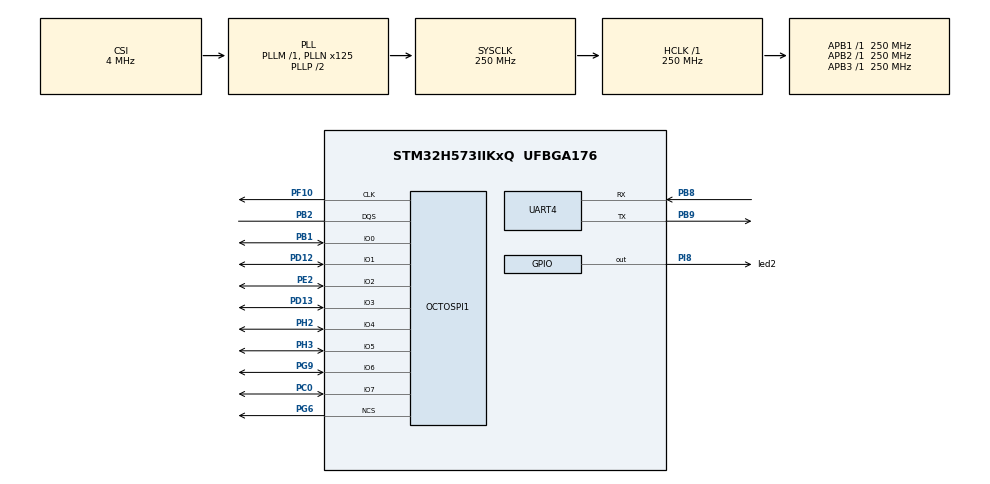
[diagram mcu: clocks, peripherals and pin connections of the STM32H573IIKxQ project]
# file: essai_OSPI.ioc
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BOOTPATH.BootPathName=LEGACY
BOOTPATH.UserSelectedBootPath=LEGACY
CORTEX_M33_NS.userName=CORTEX_M33
Mcu.Family=STM32H5
Mcu.Name=STM32H573IIKxQ
Mcu.Package=UFBGA176
NVIC.PriorityGroup=NVIC_PRIORITYGROUP_4
NVIC.UART4_IRQn=true\:0\:0\:false\:false\:true\:true\:true\:true
OCTOSPI1.MemorySize=HAL_XSPI_SIZE_512MB
PB1.Mode=OCTOSPI1_IO_Octo
PB1.Signal=OCTOSPI1_IO0
PB2.Mode=octods_mode
PB2.Signal=OCTOSPI1_DQS
PB8.Mode=Asynchronous
PB8.Signal=UART4_RX
PB9.Mode=Asynchronous
PB9.Signal=UART4_TX
PC0.Mode=OCTOSPI1_IO_Octo
PC0.Signal=OCTOSPI1_IO7
PD12.Mode=OCTOSPI1_IO_Octo
PD12.Signal=OCTOSPI1_IO1
PD13.Mode=OCTOSPI1_IO_Octo
PD13.Signal=OCTOSPI1_IO3
PE2.Mode=OCTOSPI1_IO_Octo
PE2.Signal=OCTOSPI1_IO2
PF10.Mode=octods_mode
PF10.Signal=OCTOSPI1_CLK
PG6.Mode=octods_mode
PG6.Signal=OCTOSPI1_NCS
PG9.Mode=OCTOSPI1_IO_Octo
PG9.Signal=OCTOSPI1_IO6
PH0-OSC_IN(PH0).Mode=HSE-DIG-External-Clock-Source
PH0-OSC_IN(PH0).Signal=RCC_OSC_IN
PH2.Mode=OCTOSPI1_IO_Octo
PH2.Signal=OCTOSPI1_IO4
PH3.Mode=OCTOSPI1_IO_Octo
PH3.Signal=OCTOSPI1_IO5
PI8.GPIO_Label=led2
PI8.Signal=GPIO_Output
ProjectManager.HeapSize=0x200
ProjectManager.StackSize=0x400
ProjectManager.TargetToolchain=STM32CubeIDE
RCC.ADCFreq_Value=250000000
RCC.AHBFreq_Value=250000000
RCC.APB1Freq_Value=250000000
RCC.APB1TimFreq_Value=250000000
RCC.APB2Freq_Value=250000000
RCC.APB2TimFreq_Value=250000000
RCC.APB3Freq_Value=250000000
RCC.CSI_VALUE=4000000
RCC.CortexFreq_Value=250000000
RCC.EPOD_VALUE=4000000
RCC.HCLKFreq_Value=250000000
RCC.HSE_VALUE=25000000
RCC.HSI48_VALUE=48000000
RCC.HSI_VALUE=64000000
RCC.LSE_VALUE=32768
RCC.LSIRC_VALUE=32000
RCC.PLLFRACN=0
RCC.PLLN=125
RCC.SYSCLKFreq_VALUE=250000000
RCC.SYSCLKSource=RCC_SYSCLKSOURCE_PLLCLK
RCC.USBFreq_Value=48000000
RCC.VCOOutputFreq_Value=500000000
VP_BOOTPATH_VS_BOOTPATH.Mode=BP_Activate
VP_CORTEX_M33_NS_VS_Hclk.Mode=Hclk_Mode
VP_GPDMA1_VS_GPDMACH0.Mode=SIMPLEREQUEST_GPDMACH0
VP_GPDMA1_VS_GPDMACH1.Mode=SIMPLEREQUEST_GPDMACH1
VP_ICACHE_VS_ICACHE.Mode=DefaultMode
VP_MEMORYMAP_VS_MEMORYMAP.Mode=CurAppReg
VP_PWR_VS_LPOM.Mode=PowerOptimisation
VP_PWR_VS_SECSignals.Mode=Security/Privilege
board=custom

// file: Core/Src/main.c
/* USER CODE BEGIN Header */
/**
  ******************************************************************************
  * @file           : main.c
  * @brief          : Main program body
  ******************************************************************************
  * @attention
  *
  * Copyright (c) 2025 STMicroelectronics.
  * All rights reserved.
  *
  * This software is licensed under terms that can be found in the LICENSE file
  * in the root directory of this software component.
  * If no LICENSE file comes with this software, it is provided AS-IS.
  *
  ******************************************************************************
  */
/* USER CODE END Header */
#include "main.h"

/* USER CODE BEGIN Includes */
#include "lfs.h"
#include "lfs_util.h"
#include "xspi_driver.h"
#include <string.h>
#include "lfs_config.h"

/* USER CODE END Includes */

/* USER CODE BEGIN PTD */

#define USER_LED2        GPIO_PIN_8
#define USER_LED2_GPIO_Port  GPIOI
/* USER CODE END PTD */

DMA_HandleTypeDef handle_GPDMA1_Channel1;
DMA_HandleTypeDef handle_GPDMA1_Channel0;

XSPI_HandleTypeDef hospi1;

UART_HandleTypeDef huart4;

/* USER CODE BEGIN PV */
extern struct lfs_config cfg;
/* USER CODE END PV */

void SystemClock_Config(void);
static void MX_GPIO_Init(void);
static void MX_GPDMA1_Init(void);
static void MX_ICACHE_Init(void);
static void MX_OCTOSPI1_Init(void);
static void MX_UART4_Init(void);

/* USER CODE BEGIN 0 */
int __io_putchar(int ch)
{
    HAL_UART_Transmit(&huart4, (uint8_t *)&ch, 1, HAL_MAX_DELAY);
    return ch;
}

/* USER CODE END 0 */

int main(void)
{

  /* MCU Configuration--------------------------------------------------------*/

  /* Reset of all peripherals, Initializes the Flash interface and the Systick. */
  HAL_Init();

  /* USER CODE BEGIN Init */
  printf("UART4 initialized and ready!\r\n");

  /* USER CODE END Init */

  /* Configure the system clock */
  SystemClock_Config();

  /* Initialize all configured peripherals */
  MX_GPIO_Init();
  MX_GPDMA1_Init();
  MX_ICACHE_Init();
  MX_OCTOSPI1_Init();
  MX_UART4_Init();
  /* USER CODE BEGIN 2 */
  void blink_error(int times) {
      for (int i = 0; i < times; i++) {
          HAL_GPIO_TogglePin(USER_LED2_GPIO_Port, USER_LED2);
          HAL_Delay(200);
          HAL_GPIO_TogglePin(USER_LED2_GPIO_Port, USER_LED2);
          HAL_Delay(200);
      }
      HAL_GPIO_WritePin(USER_LED2_GPIO_Port, USER_LED2, GPIO_PIN_RESET);
      while (1);
  }

  lfs_t lfs;

  lfs_config_init(); // Initialisation XSPI

  int err = lfs_mount(&lfs, &cfg);
  if (err) {
      err = lfs_format(&lfs, &cfg);
      if (err) {
          blink_error(2);  // erreur format
      }
      err = lfs_mount(&lfs, &cfg);
      if (err) {
          blink_error(3);  // erreur mount après format
      }
  }

  lfs_file_t file;
  const char *text = "Bonjour OSPI !\r\n";

  err = lfs_file_open(&lfs, &file, "monfichier.txt", LFS_O_WRONLY | LFS_O_CREAT);
  if (err) {
      blink_error(4);  // erreur ouverture fichier
  }

  if (lfs_file_write(&lfs, &file, text, strlen(text)) < 0) {
      blink_error(5);  // erreur écriture
  }

  if (lfs_file_close(&lfs, &file) < 0) {
      blink_error(6);  // erreur fermeture
  }

  // Envoi du texte via UART4
  if (HAL_UART_Transmit(&huart4, (uint8_t *)text, strlen(text), HAL_MAX_DELAY) != HAL_OK) {
      blink_error(7);  // erreur UART
  }

  // OK → clignote normalement toutes les 5s
  while (1) {
      HAL_GPIO_TogglePin(USER_LED2_GPIO_Port, USER_LED2);
      HAL_Delay(1000);
  }
  /* USER CODE END 2 */

  /* Infinite loop */
  while (1)
  {

  }
}

void SystemClock_Config(void)
{
  RCC_OscInitTypeDef RCC_OscInitStruct = {0};
  RCC_ClkInitTypeDef RCC_ClkInitStruct = {0};

  /** Configure the main internal regulator output voltage
  */
  __HAL_PWR_VOLTAGESCALING_CONFIG(PWR_REGULATOR_VOLTAGE_SCALE0);

  while(!__HAL_PWR_GET_FLAG(PWR_FLAG_VOSRDY)) {}

  /** Initializes the RCC Oscillators according to the specified parameters
  * in the RCC_OscInitTypeDef structure.
  */
  RCC_OscInitStruct.OscillatorType = RCC_OSCILLATORTYPE_CSI;
  RCC_OscInitStruct.CSIState = RCC_CSI_ON;
  RCC_OscInitStruct.CSICalibrationValue = RCC_CSICALIBRATION_DEFAULT;
  RCC_OscInitStruct.PLL.PLLState = RCC_PLL_ON;
  RCC_OscInitStruct.PLL.PLLSource = RCC_PLL1_SOURCE_CSI;
  RCC_OscInitStruct.PLL.PLLM = 1;
  RCC_OscInitStruct.PLL.PLLN = 125;
  RCC_OscInitStruct.PLL.PLLP = 2;
  RCC_OscInitStruct.PLL.PLLQ = 2;
  RCC_OscInitStruct.PLL.PLLR = 2;
  RCC_OscInitStruct.PLL.PLLRGE = RCC_PLL1_VCIRANGE_2;
  RCC_OscInitStruct.PLL.PLLVCOSEL = RCC_PLL1_VCORANGE_WIDE;
  RCC_OscInitStruct.PLL.PLLFRACN = 0;
  if (HAL_RCC_OscConfig(&RCC_OscInitStruct) != HAL_OK)
  {
    Error_Handler();
  }

  /** Initializes the CPU, AHB and APB buses clocks
  */
  RCC_ClkInitStruct.ClockType = RCC_CLOCKTYPE_HCLK|RCC_CLOCKTYPE_SYSCLK
                              |RCC_CLOCKTYPE_PCLK1|RCC_CLOCKTYPE_PCLK2
                              |RCC_CLOCKTYPE_PCLK3;
  RCC_ClkInitStruct.SYSCLKSource = RCC_SYSCLKSOURCE_PLLCLK;
  RCC_ClkInitStruct.AHBCLKDivider = RCC_SYSCLK_DIV1;
  RCC_ClkInitStruct.APB1CLKDivider = RCC_HCLK_DIV1;
  RCC_ClkInitStruct.APB2CLKDivider = RCC_HCLK_DIV1;
  RCC_ClkInitStruct.APB3CLKDivider = RCC_HCLK_DIV1;

  if (HAL_RCC_ClockConfig(&RCC_ClkInitStruct, FLASH_LATENCY_5) != HAL_OK)
  {
    Error_Handler();
  }

  /** Configure the programming delay
  */
  __HAL_FLASH_SET_PROGRAM_DELAY(FLASH_PROGRAMMING_DELAY_2);
}

static void MX_GPDMA1_Init(void)
{

  /* Peripheral clock enable */
  __HAL_RCC_GPDMA1_CLK_ENABLE();

  handle_GPDMA1_Channel1.Instance = GPDMA1_Channel1;
  handle_GPDMA1_Channel1.Init.Request = DMA_REQUEST_SW;
  handle_GPDMA1_Channel1.Init.BlkHWRequest = DMA_BREQ_SINGLE_BURST;
  handle_GPDMA1_Channel1.Init.Direction = DMA_MEMORY_TO_MEMORY;
  handle_GPDMA1_Channel1.Init.SrcInc = DMA_SINC_FIXED;
  handle_GPDMA1_Channel1.Init.DestInc = DMA_DINC_FIXED;
  handle_GPDMA1_Channel1.Init.SrcDataWidth = DMA_SRC_DATAWIDTH_BYTE;
  handle_GPDMA1_Channel1.Init.DestDataWidth = DMA_DEST_DATAWIDTH_BYTE;
  handle_GPDMA1_Channel1.Init.Priority = DMA_LOW_PRIORITY_LOW_WEIGHT;
  handle_GPDMA1_Channel1.Init.SrcBurstLength = 1;
  handle_GPDMA1_Channel1.Init.DestBurstLength = 1;
  handle_GPDMA1_Channel1.Init.TransferAllocatedPort = DMA_SRC_ALLOCATED_PORT0|DMA_DEST_ALLOCATED_PORT0;
  handle_GPDMA1_Channel1.Init.TransferEventMode = DMA_TCEM_BLOCK_TRANSFER;
  handle_GPDMA1_Channel1.Init.Mode = DMA_NORMAL;
  if (HAL_DMA_Init(&handle_GPDMA1_Channel1) != HAL_OK)
  {
    Error_Handler();
  }
  if (HAL_DMA_ConfigChannelAttributes(&handle_GPDMA1_Channel1, DMA_CHANNEL_NPRIV) != HAL_OK)
  {
    Error_Handler();
  }
  handle_GPDMA1_Channel0.Instance = GPDMA1_Channel0;
  handle_GPDMA1_Channel0.Init.Request = DMA_REQUEST_SW;
  handle_GPDMA1_Channel0.Init.BlkHWRequest = DMA_BREQ_SINGLE_BURST;
  handle_GPDMA1_Channel0.Init.Direction = DMA_MEMORY_TO_MEMORY;
  handle_GPDMA1_Channel0.Init.SrcInc = DMA_SINC_FIXED;
  handle_GPDMA1_Channel0.Init.DestInc = DMA_DINC_FIXED;
  handle_GPDMA1_Channel0.Init.SrcDataWidth = DMA_SRC_DATAWIDTH_BYTE;
  handle_GPDMA1_Channel0.Init.DestDataWidth = DMA_DEST_DATAWIDTH_BYTE;
  handle_GPDMA1_Channel0.Init.Priority = DMA_LOW_PRIORITY_LOW_WEIGHT;
  handle_GPDMA1_Channel0.Init.SrcBurstLength = 1;
  handle_GPDMA1_Channel0.Init.DestBurstLength = 1;
  handle_GPDMA1_Channel0.Init.TransferAllocatedPort = DMA_SRC_ALLOCATED_PORT0|DMA_DEST_ALLOCATED_PORT0;
  handle_GPDMA1_Channel0.Init.TransferEventMode = DMA_TCEM_BLOCK_TRANSFER;
  handle_GPDMA1_Channel0.Init.Mode = DMA_NORMAL;
  if (HAL_DMA_Init(&handle_GPDMA1_Channel0) != HAL_OK)
  {
    Error_Handler();
  }
  if (HAL_DMA_ConfigChannelAttributes(&handle_GPDMA1_Channel0, DMA_CHANNEL_NPRIV) != HAL_OK)
  {
    Error_Handler();
  }

}

static void MX_ICACHE_Init(void)
{

  /** Enable instruction cache (default 2-ways set associative cache)
  */
  if (HAL_ICACHE_Enable() != HAL_OK)
  {
    Error_Handler();
  }

}

static void MX_OCTOSPI1_Init(void)
{

  /* OCTOSPI1 parameter configuration*/
  hospi1.Instance = OCTOSPI1;
  hospi1.Init.FifoThresholdByte = 1;
  hospi1.Init.MemoryMode = HAL_XSPI_SINGLE_MEM;
  hospi1.Init.MemoryType = HAL_XSPI_MEMTYPE_MICRON;
  hospi1.Init.MemorySize = HAL_XSPI_SIZE_512MB;
  hospi1.Init.ChipSelectHighTimeCycle = 1;
  hospi1.Init.FreeRunningClock = HAL_XSPI_FREERUNCLK_DISABLE;
  hospi1.Init.ClockMode = HAL_XSPI_CLOCK_MODE_0;
  hospi1.Init.WrapSize = HAL_XSPI_WRAP_NOT_SUPPORTED;
  hospi1.Init.ClockPrescaler = 0;
  hospi1.Init.SampleShifting = HAL_XSPI_SAMPLE_SHIFT_NONE;
  hospi1.Init.DelayHoldQuarterCycle = HAL_XSPI_DHQC_DISABLE;
  hospi1.Init.ChipSelectBoundary = HAL_XSPI_BONDARYOF_NONE;
  hospi1.Init.DelayBlockBypass = HAL_XSPI_DELAY_BLOCK_BYPASS;
  hospi1.Init.Refresh = 0;
  if (HAL_XSPI_Init(&hospi1) != HAL_OK)
  {
    Error_Handler();
  }

}

static void MX_UART4_Init(void)
{

  huart4.Instance = UART4;
  huart4.Init.BaudRate = 115200;
  huart4.Init.WordLength = UART_WORDLENGTH_8B;
  huart4.Init.StopBits = UART_STOPBITS_1;
  huart4.Init.Parity = UART_PARITY_NONE;
  huart4.Init.Mode = UART_MODE_TX_RX;
  huart4.Init.HwFlowCtl = UART_HWCONTROL_NONE;
  huart4.Init.OverSampling = UART_OVERSAMPLING_16;
  huart4.Init.OneBitSampling = UART_ONE_BIT_SAMPLE_DISABLE;
  huart4.Init.ClockPrescaler = UART_PRESCALER_DIV1;
  huart4.AdvancedInit.AdvFeatureInit = UART_ADVFEATURE_NO_INIT;
  if (HAL_UART_Init(&huart4) != HAL_OK)
  {
    Error_Handler();
  }
  if (HAL_UARTEx_SetTxFifoThreshold(&huart4, UART_TXFIFO_THRESHOLD_1_8) != HAL_OK)
  {
    Error_Handler();
  }
  if (HAL_UARTEx_SetRxFifoThreshold(&huart4, UART_RXFIFO_THRESHOLD_1_8) != HAL_OK)
  {
    Error_Handler();
  }
  if (HAL_UARTEx_DisableFifoMode(&huart4) != HAL_OK)
  {
    Error_Handler();
  }

}

static void MX_GPIO_Init(void)
{
  GPIO_InitTypeDef GPIO_InitStruct = {0};

  /* GPIO Ports Clock Enable */
  __HAL_RCC_GPIOB_CLK_ENABLE();
  __HAL_RCC_GPIOG_CLK_ENABLE();
  __HAL_RCC_GPIOE_CLK_ENABLE();
  __HAL_RCC_GPIOI_CLK_ENABLE();
  __HAL_RCC_GPIOH_CLK_ENABLE();
  __HAL_RCC_GPIOF_CLK_ENABLE();
  __HAL_RCC_GPIOD_CLK_ENABLE();
  __HAL_RCC_GPIOC_CLK_ENABLE();

  /*Configure GPIO pin Output Level */
  HAL_GPIO_WritePin(led2_GPIO_Port, led2_Pin, GPIO_PIN_RESET);

  /*Configure GPIO pin : led2_Pin */
  GPIO_InitStruct.Pin = led2_Pin;
  GPIO_InitStruct.Mode = GPIO_MODE_OUTPUT_PP;
  GPIO_InitStruct.Pull = GPIO_NOPULL;
  GPIO_InitStruct.Speed = GPIO_SPEED_FREQ_LOW;
  HAL_GPIO_Init(led2_GPIO_Port, &GPIO_InitStruct);

}

void Error_Handler(void)
{
  __disable_irq();
  while (1)
  {
  }
}
